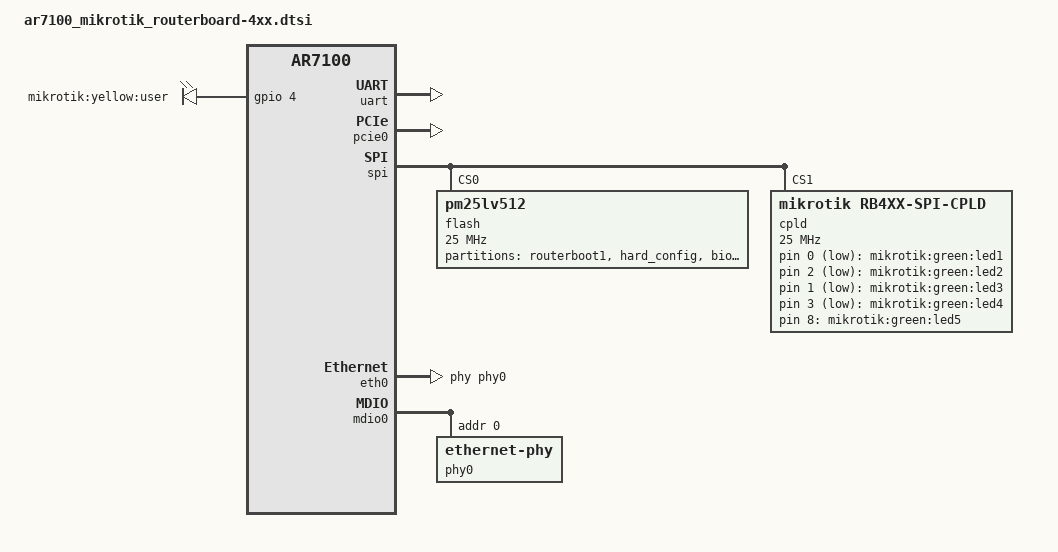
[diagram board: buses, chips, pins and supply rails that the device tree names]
// SPDX-License-Identifier: GPL-1.0-or-later OR MIT

#include <dt-bindings/gpio/gpio.h>
#include <dt-bindings/input/input.h>

#include "ar7100.dtsi"

/ {
	chosen {
		bootargs = "console=ttyS0,115200";
	};

	aliases {
		led-boot = &led_user;
		led-failsafe = &led_user;
		led-running = &led_user;
	};

	leds {
		compatible = "gpio-leds";

		led_user: user {
			label = "mikrotik:yellow:user";
			gpios = <&gpio 4 GPIO_ACTIVE_HIGH>;
			default-state = "on";
		};

		led1 {
			label = "mikrotik:green:led1";
			gpios = <&cpld 0 GPIO_ACTIVE_LOW>;
		};

		led2 {
			label = "mikrotik:green:led2";
			gpios = <&cpld 2 GPIO_ACTIVE_LOW>;
		};

		led3 {
			label = "mikrotik:green:led3";
			gpios = <&cpld 1 GPIO_ACTIVE_LOW>;
		};

		led4 {
			label = "mikrotik:green:led4";
			gpios = <&cpld 3 GPIO_ACTIVE_LOW>;
		};

		led5 {
			label = "mikrotik:green:led5";
			gpios = <&cpld 8 GPIO_ACTIVE_HIGH>;
		};
	};

	nand: nand {
		compatible = "mikrotik,rb4xx-nand";
	};
};

&uart {
	status = "okay";
};

&gpio {
	ngpios = <31>;
};

&pcie0 {
	// NOT TESTED (n.b. ath79_pci_irq struct has the slot/pin/IRQ mappings if needed)
	status = "okay";
};

&spi {
	status = "okay";

	compatible = "mikrotik,rb4xx-spi";

	flash@0 {
		compatible = "pm25lv512", "jedec,spi-nor";
		reg = <0>;
		spi-max-frequency = <25000000>;

		partitions {
			compatible = "mikrotik,routerboot-partitions";
			#address-cells = <1>;
			#size-cells = <1>;

			partition@0 {
				label = "routerboot1";
				reg = <0x0 0x0>;
				read-only;
			};

			hard_config {
				label = "hard_config";
				read-only;
			};

			bios {
				label = "bios";
				size = <0x1000>;
				read-only;
			};

			routerboot2 {
				label = "routerboot2";
				read-only;
			};

			soft_config {
				label = "soft_config";
			};
		};
	};

	cpld: cpld@1 {
		compatible = "mikrotik,rb4xx-spi-cpld";
		reg = <1>;
		spi-max-frequency = <25000000>;

		gpio-base = <32>;

		gpio-controller;
		#gpio-cells = <2>;
	};
};

&eth0 {
	status = "okay";

	phy-handle = <&phy0>;
};

&mdio0 {
	status = "okay";

	phy0: ethernet-phy@0 {
		reg = <0>;
	};
};
